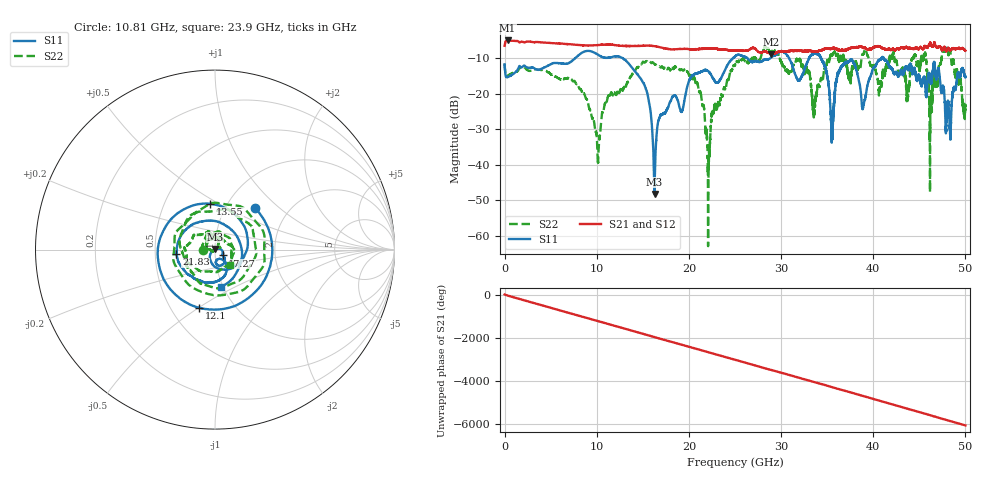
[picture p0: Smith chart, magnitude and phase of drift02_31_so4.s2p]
!Created with skrf (http://scikit-rf.org).
# Hz S RI R 50.0
!freq ReS11 ImS11 ReS21 ImS21 ReS12 ImS12 ReS22 ImS22
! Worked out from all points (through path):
!   10001 points, 300 kHz to 50 GHz, reference 50 ohm
!   highest |S21| = -5.04 dB at 325.3 MHz (marker M1); lowest = -8.9 dB at 28.94 GHz (marker M2)
!   group delay of S21, straight-line fit = 336 ps
!   lowest |S11| = -48.2 dB at 16.27 GHz (marker M3), VSWR 1.01, Z = 50 + j0.387 ohm
!   |S11| at or under -10 dB: start of sweep to 7.666 GHz; 12.82 GHz to 24.79 GHz (11.97 GHz wide, 63.7 % of centre); 41.13 GHz to end of sweep (the widest 3 of 11)
!   |S22| runs from -62.8 to -6.7 dB; largest |S21 - S12| = 0.03
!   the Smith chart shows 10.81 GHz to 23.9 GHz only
!   S11 on the Smith chart (normalised r, x): 10.81 GHz: 1.37, +0.70; 12.1 GHz: 0.69, -0.50; 13.55 GHz: 0.83, +0.45; 17.27 GHz: 1.09, -0.07; 21.83 GHz: 0.64, -0.04; 23.9 GHz: 0.98, -0.43
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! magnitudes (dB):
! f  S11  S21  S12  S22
! 300 kHz  -11.7  -6.5  -6.5  -11.7
! 325.3 MHz  -15.3  -5.0  -5.0  -15.1
! 8.335 GHz  -8.6  -6.4  -6.4  -19.1
! 10.11 GHz  -9.0  -6.3  -6.3  -38.6
! 10.81 GHz  -9.9  -6.2  -6.2  -23.7
! 12.1 GHz  -9.5  -6.4  -6.4  -20.4
! 13.55 GHz  -11.8  -6.6  -6.6  -15.9
! 16.27 GHz  -48.2  -6.6  -6.6  -11.7
! 16.67 GHz  -27.7  -6.8  -6.8  -12.2
! 17.27 GHz  -25.4  -7.2  -7.2  -12.9
! 21.83 GHz  -13.3  -7.3  -7.3  -31.3
! 23.9 GHz  -13.5  -7.6  -7.6  -18.5
! 25 GHz  -9.5  -7.8  -7.9  -11.9
! 28.94 GHz  -9.8  -8.9  -8.9  -8.1
! 33.34 GHz  -9.2  -8.0  -8.0  -19.8
! 35.54 GHz  -31.7  -7.3  -7.3  -9.2
! 36.81 GHz  -11.8  -7.9  -7.8  -10.0
! 38.94 GHz  -23.4  -7.1  -7.1  -8.9
! 41.67 GHz  -11.9  -7.4  -7.5  -11.8
! 46.25 GHz  -17.3  -6.1  -6.1  -21.7
! 48.13 GHz  -22.3  -7.1  -7.1  -9.1
! 50 GHz  -15.2  -7.9  -7.9  -23.9
